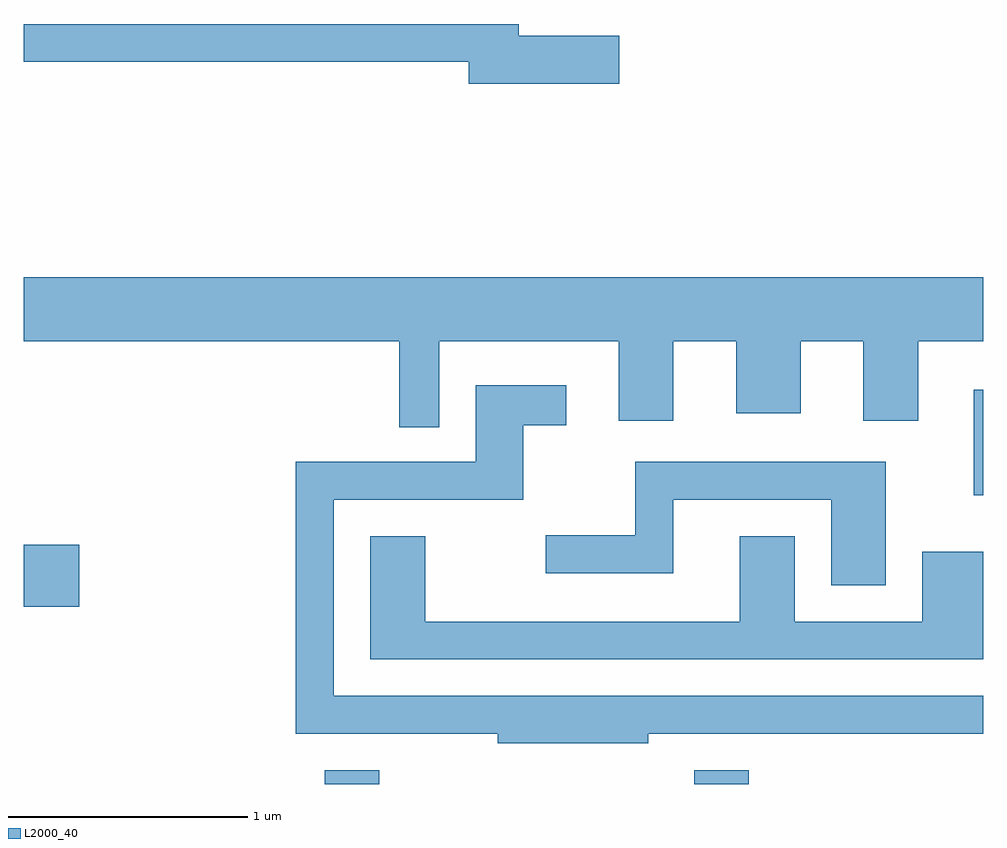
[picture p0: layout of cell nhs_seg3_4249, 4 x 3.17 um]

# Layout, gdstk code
import gdstk
lib = gdstk.Library(unit=1e-6, precision=1e-09)
def R(c, l, rs):  # rectangles x0, y0, x1, y1
    for r in rs: c.add(gdstk.rectangle(r[:2], r[2:], *l))
def P(c, l, *ps):  # polygons
    for p in ps: c.add(gdstk.Polygon(p, *l))
L2000_40 = (2000, 40)

nhs_seg3_4249 = lib.new_cell('nhs_seg3_4249')
R(nhs_seg3_4249, L2000_40, [(310.866,1181.892,311.094,1181.949), (312.406,1181.892,312.634,1181.949), (309.611,1182.631,309.844,1182.889), (313.571,1183.096,313.611,1183.534)])
P(nhs_seg3_4249, L2000_40, [(312.094,1185.009),(311.674,1185.009),(311.674,1185.059),(309.611,1185.059),(309.611,1184.901),(311.466,1184.901),(311.466,1184.811),(312.094,1184.811)],
  [(311.344,1183.736),(312.091,1183.736),(312.091,1183.406),(312.319,1183.406),(312.319,1183.736),(312.581,1183.736),(312.581,1183.436),(312.849,1183.436),(312.849,1183.736),(313.111,1183.736),(313.111,1183.406),(313.339,1183.406),(313.339,1183.736),(313.611,1183.736),(313.611,1184.004),(309.611,1184.004),(309.611,1183.736),(311.176,1183.736),(311.176,1183.378),(311.344,1183.378)],
  [(312.214,1182.101),(313.611,1182.101),(313.611,1182.259),(310.904,1182.259),(310.904,1183.076),(311.694,1183.076),(311.694,1183.386),(311.873,1183.386),(311.873,1183.554),(311.496,1183.554),(311.496,1183.234),(310.746,1183.234),(310.746,1182.101),(311.586,1182.101),(311.586,1182.061),(312.214,1182.061)],
  [(313.204,1183.234),(312.161,1183.234),(312.161,1182.929),(311.788,1182.929),(311.788,1182.771),(312.319,1182.771),(312.319,1183.076),(312.976,1183.076),(312.976,1182.721),(313.204,1182.721)],
  [(313.611,1182.859),(313.356,1182.859),(313.356,1182.569),(312.824,1182.569),(312.824,1182.924),(312.596,1182.924),(312.596,1182.569),(311.284,1182.569),(311.284,1182.924),(311.056,1182.924),(311.056,1182.411),(313.611,1182.411)])

lib.write_gds('nhs_seg3_4249.gds')
